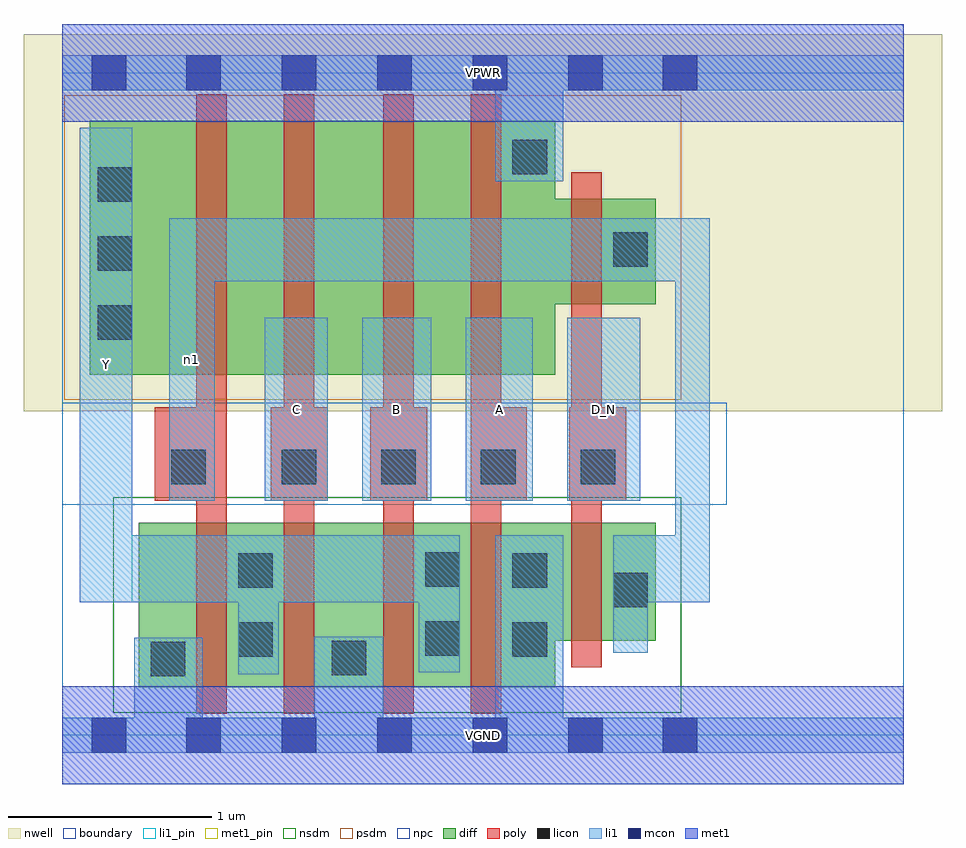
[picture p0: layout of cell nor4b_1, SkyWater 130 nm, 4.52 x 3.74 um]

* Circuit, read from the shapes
.subckt nor4b_1 A B C D_N VGND VPWR Y n1
XM1 Y n1 VGND VSUBS sky130_fd_pr__nfet_01v8 w=0.81 l=0.15
XM2 VGND C Y VSUBS sky130_fd_pr__nfet_01v8 w=0.81 l=0.15
XM3 Y B VGND VSUBS sky130_fd_pr__nfet_01v8 w=0.81 l=0.15
XM4 VGND A Y VSUBS sky130_fd_pr__nfet_01v8 w=0.81 l=0.15
XM5 n1 D_N VGND VSUBS sky130_fd_pr__nfet_01v8 w=0.58 l=0.15
XM6 n2 n1 Y n3 sky130_fd_pr__pfet_01v8 w=1.25 l=0.15
XM7 n4 C n2 n3 sky130_fd_pr__pfet_01v8 w=1.25 l=0.15
XM8 n5 B n4 n3 sky130_fd_pr__pfet_01v8 w=1.25 l=0.15
XM9 VPWR A n5 n3 sky130_fd_pr__pfet_01v8 w=1.25 l=0.15
XM10 n1 D_N VPWR n3 sky130_fd_pr__pfet_01v8 w=0.52 l=0.15
.ends

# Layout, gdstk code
import gdstk
lib = gdstk.Library(unit=1e-6, precision=1e-09)
def R(c, l, rs):  # rectangles x0, y0, x1, y1
    for r in rs: c.add(gdstk.rectangle(r[:2], r[2:], *l))
def A(c, l, x, y, w, h, nx, ny, dx, dy):  # array of equal rectangles
    R(c, l, [(x+i*dx, y+j*dy, x+i*dx+w, y+j*dy+h) for i in range(nx) for j in range(ny)])
nwell = (64, 20)
diff = (65, 20)
poly = (66, 20)
licon = (66, 44)
li1_pin = (67, 16)
li1 = (67, 20)
mcon = (67, 44)
met1_pin = (68, 16)
met1 = (68, 20)
nsdm = (93, 44)
psdm = (94, 20)
npc = (95, 20)
boundary = (235, 4)

nor4b_1 = lib.new_cell('nor4b_1')
R(nor4b_1, nwell, [(-0.19,1.595,4.33,3.45), (0,1.595,4.14,3.45)])
R(nor4b_1, diff, [(0.375,0.235,2.425,1.045), (0.375,0.465,2.92,1.045), (0.135,1.775,2.425,3.025), (0.135,2.12,2.92,2.64)])
R(nor4b_1, poly, [(0.66,0.105,0.81,3.155), (1.09,0.105,1.24,3.155), (1.58,0.105,1.73,3.155), (2.01,0.105,2.16,3.155), (2.505,0.335,2.655,2.77), (0.455,1.155,0.81,1.615), (1.025,1.155,1.305,1.615), (1.515,1.155,1.795,1.615), (2.01,1.155,2.285,1.615), (2.495,1.155,2.775,1.615)])
A(nor4b_1, licon, 1.08, 1.235, 0.17, 0.17, 4, 1, 0.49, 0)
A(nor4b_1, licon, 0.175, 1.945, 0.17, 0.17, 1, 3, 0, 0.34)
R(nor4b_1, licon, [(0.435,0.29,0.605,0.46), (1.325,0.295,1.495,0.465), (0.865,0.385,1.035,0.555), (2.215,0.385,2.385,0.555), (1.785,0.39,1.955,0.56), (2.71,0.63,2.88,0.8), (0.865,0.725,1.035,0.895), (2.215,0.725,2.385,0.895), (1.785,0.73,1.955,0.9), (0.535,1.235,0.705,1.405), (2.71,2.305,2.88,2.475), (2.215,2.76,2.385,2.93)])
R(nor4b_1, li1_pin, [(0.085,0.655,0.345,2.99), (0.995,1.155,1.305,2.055), (1.475,1.155,1.815,2.055), (1.985,1.155,2.315,2.055), (2.485,1.155,2.845,2.055)])
R(nor4b_1, li1, [(0,-0.085,4.14,0.085), (0.355,-0.085,0.69,0.48), (1.24,-0.085,1.58,0.485), (2.13,-0.085,2.465,0.985), (0.865,0.3,1.065,0.985), (1.755,0.31,1.955,0.985), (2.71,0.405,2.88,0.985), (0.085,0.655,0.345,2.99), (0.085,0.655,1.955,0.985), (2.71,0.655,3.185,0.985), (3.015,0.655,3.185,2.545), (0.525,1.155,0.75,2.545), (0.995,1.155,1.305,2.055), (1.475,1.155,1.815,2.055), (1.985,1.155,2.315,2.055), (2.485,1.155,2.845,2.055), (0.525,2.235,3.185,2.545), (2.13,2.725,2.465,3.345), (0,3.175,4.14,3.345)])
A(nor4b_1, mcon, 0.61, -0.085, 0.17, 0.17, 5, 2, 0.47, 3.26)
R(nor4b_1, mcon, [(0.145,-0.085,0.315,0.085), (2.955,-0.085,3.125,0.085), (0.145,3.175,0.315,3.345), (2.955,3.175,3.125,3.345)])
R(nor4b_1, met1_pin, [(0,-0.24,4.14,0.24), (0,3.02,4.14,3.5)])
R(nor4b_1, met1, [(0,-0.24,4.14,0.24), (0,3.02,4.14,3.5)])
R(nor4b_1, nsdm, [(0.25,0.11,3.045,1.17)])
R(nor4b_1, psdm, [(0.01,1.65,3.045,3.15)])
R(nor4b_1, npc, [(0,1.135,3.27,1.635)])
R(nor4b_1, boundary, [(0,0,4.14,3.26)])
nor4b_1.add(gdstk.Label('A', (2.15,1.605), layer=67, texttype=5))
nor4b_1.add(gdstk.Label('B', (1.645,1.605), layer=67, texttype=5))
nor4b_1.add(gdstk.Label('C', (1.15,1.605), layer=67, texttype=5))
nor4b_1.add(gdstk.Label('D_N', (2.665,1.605), layer=67, texttype=5))
nor4b_1.add(gdstk.Label('Y', (0.215,1.822), layer=67, texttype=5))
nor4b_1.add(gdstk.Label('n1', (0.637,1.85), layer=67, texttype=5))
nor4b_1.add(gdstk.Label('VPWR', (2.07,3.26), layer=68, texttype=5))
nor4b_1.add(gdstk.Label('VGND', (2.07,0), layer=68, texttype=5))
nor4b_1.add(gdstk.Label('A', (2.15,1.605), layer=67, texttype=16))
nor4b_1.add(gdstk.Label('B', (1.645,1.605), layer=67, texttype=16))
nor4b_1.add(gdstk.Label('C', (1.15,1.605), layer=67, texttype=16))
nor4b_1.add(gdstk.Label('D_N', (2.665,1.605), layer=67, texttype=16))
nor4b_1.add(gdstk.Label('Y', (0.215,1.822), layer=67, texttype=16))
nor4b_1.add(gdstk.Label('VPWR', (2.07,3.26), layer=68, texttype=16))
nor4b_1.add(gdstk.Label('VGND', (2.07,0), layer=68, texttype=16))

lib.write_gds('nor4b_1.gds')
